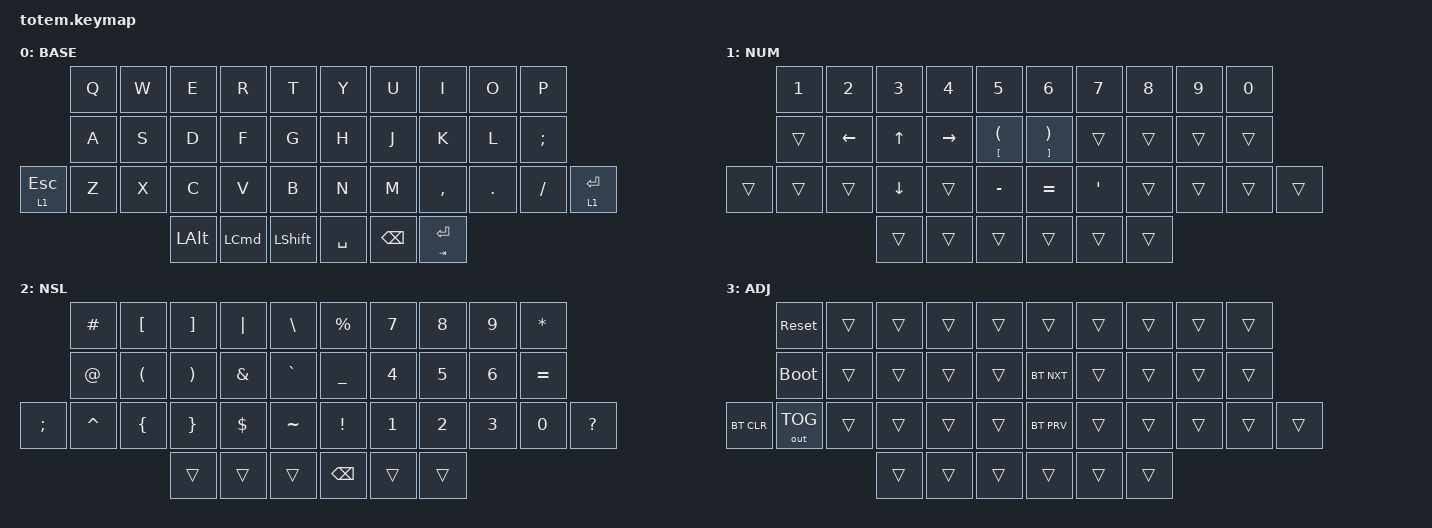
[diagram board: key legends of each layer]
#include <behaviors.dtsi>
#include <dt-bindings/zmk/keys.h>
#include <dt-bindings/zmk/bt.h>
#include <dt-bindings/zmk/outputs.h>

#define BASE 0
#define NUM  1
#define NSL  2
#define ADJ  3

&mt {
  /* tapping-term-ms = <170>; */
    quick-tap-ms = <250>;
    /* flavor = "hold-preferred"; */
  /* global-quick-tap; */
};

&lt {
    /* tapping-term-ms = <170>; */
    quick-tap-ms = <250>;
    /* flavor = "tap-preferred"; */
    /* global-quick-tap; */
    require-prior-idle-ms = <250>;
};

&sk {
    quick-release;
};

/ {
    behaviors {
       /*
        *
        */
        caps_tdr: caps_tap_dance_right {
            compatible = "zmk,behavior-tap-dance";
            #binding-cells = <0>;
            tapping-term-ms = <200>;
            bindings = <&smt RSHFT RALT>, <&caps_word>;
        };

        caps_tdl: caps_tap_dance_left {
            compatible = "zmk,behavior-tap-dance";
            #binding-cells = <0>;
            tapping-term-ms = <200>;
            bindings = <&slt 1 LSHFT>, <&caps_word>;
        };


       /*   Custom mod-tap/layer-tap behavior.
        *   The main idea is to accomodate
        *   the one-shot (i.e. sticky) mods.
        */
        slt: sticky_layer_tap {
            compatible = "zmk,behavior-hold-tap";
            #binding-cells = <2>;
            flavor = "tap-preferred";
            tapping-term-ms = <200>;
            require-prior-idle-ms = <250>;
            bindings = <&mo>, <&sk>;
            display-name = "Sticky-Layer-Tap";
        };

        smt: sticky_mod_tap {
            compatible = "zmk,behavior-hold-tap";
            #binding-cells = <2>;
            flavor = "hold-preferred";
            tapping-term-ms = <200>;
            bindings = <&kp>, <&sk>;
            display-name = "Sticky-Mod-Tap";
        };

       /*   CTRL -based behavior of what would normally be a plain SPACE.
        *   Implemented as nested mod-morphs. The main idea is that `space`
        *   and `comma` are among the most commonly typed characters; hence
        *   their optimized placement (again, not without some individual
        *   preferences).
        */
        spc_L1: rctl_space {
            compatible = "zmk,behavior-mod-morph";
            #binding-cells = <0>;
            bindings = <&lt 2 SPACE>, <&kp COMMA>;
            mods = <(MOD_RCTL)>;
        };

        spc_L0: lctl_space {
            compatible = "zmk,behavior-mod-morph";
            #binding-cells = <0>;
            bindings = <&spc_L1>, <&kp COLON>;
            mods = <(MOD_LCTL)>;
        };

       /*   Quasi-Shift behavior for certain keys.
        *   In the traditional QWERTY layout/keyboard proper,
        *   pairs of non-alphanumeric symbols seem to be tightly coupled
        *   with one another via Shift Mod Key (e.g. / and ? ).
        *   In ZMK, there could actually be an easier way to decouple them,
        *   and, as such, this schema is also subject to revision.
        */
        s_minus: shift_minus {
            compatible = "zmk,behavior-mod-morph";
            #binding-cells = <0>;
            bindings = <&kp MINUS>, <&kp PLUS>;
            mods = <(MOD_LSFT|MOD_RSFT)>;
        };

        s_dot: shift_dot {
            compatible = "zmk,behavior-mod-morph";
            #binding-cells = <0>;
            bindings = <&kp DOT>, <&kp GT>;
            mods = <(MOD_LSFT|MOD_RSFT)>;
        };

        s_slash: shift_slash {
            compatible = "zmk,behavior-mod-morph";
            #binding-cells = <0>;
            bindings = <&kp FSLH>, <&kp LT>;
            mods = <(MOD_LSFT|MOD_RSFT)>;
        };

        s_quote: shift_quotes {
            compatible = "zmk,behavior-mod-morph";
            #binding-cells = <0>;
            bindings = <&kp APOS>, <&kp DQT>;
            mods = <(MOD_LSFT|MOD_RSFT)>;
        };

       /*
        *
        *
        */
        mm_ctrl_bspc: ctrl_bspc {
            compatible = "zmk,behavior-mod-morph";
            #binding-cells = <0>;
            bindings = <&mt RCTRL BSPC>, <&kp BSPC>;
            mods = <MOD_LCTL>;
            keep-mods = <MOD_LCTL>;
        };

    };

    macros {
       /*   Easier navigation macros.  */
        four_down: four_down_macro {
            compatible = "zmk,behavior-macro";
            #binding-cells = <0>;
            bindings = <&macro_tap &kp DOWN &kp DOWN &kp DOWN &kp DOWN>;
        };

        four_up: four_up_macro {
            compatible = "zmk,behavior-macro";
            #binding-cells = <0>;
            bindings = <&macro_tap &kp UP &kp UP &kp UP &kp UP>;
        };

        eight_down: eight_down_macro {
            compatible = "zmk,behavior-macro";
            #binding-cells = <0>;
            bindings = <&macro_tap &kp N8 &kp DOWN>;
        };

        eight_up: eight_up_macro {
            compatible = "zmk,behavior-macro";
            #binding-cells = <0>;
            bindings = <&macro_tap &kp N8 &kp UP>;
        };
    };

/* ---------------------------------------------------------------------------------------------------------------------------------------------------- 
              ┏━━━━━━━━━━━┳━━━━━━━━━━━┳━━━━━━━━━━━┳━━━━━━━━━━━┳━━━━━━━━━━━┓   ┏━━━━━━━━━━━┳━━━━━━━━━━━┳━━━━━━━━━━━┳━━━━━━━━━━━┳━━━━━━━━━━━┓
              ┃     q     ┃     w     ┃     e     ┃     r     ┃    t      ┃   ┃     y     ┃     u     ┃     i     ┃     o     ┃     p     ┃
              ┣━━━━━━━━━━━╋━━━━━━━━━━━╋━━━━━━━━━━━╋━━━━━━━━━━━╋━━━━━━━━━━━┫   ┣━━━━━━━━━━━╋━━━━━━━━━━━╋━━━━━━━━━━━╋━━━━━━━━━━━╋━━━━━━━━━━━┫
              ┃     a     ┃     s     ┃     d     ┃     f     ┃    g      ┃   ┃     h     ┃     j     ┃     k     ┃     l     ┃     ;     ┃
  ┏━━━━━━━━━━━╋━━━━━━━━━━━╋━━━━━━━━━━━╋━━━━━━━━━━━╋━━━━━━━━━━━╋━━━━━━━━━━━┫   ┣━━━━━━━━━━━╋━━━━━━━━━━━╋━━━━━━━━━━━╋━━━━━━━━━━━╋━━━━━━━━━━━╋━━━━━━━━━━━┓
  ┃   LCTRL   ┃     z     ┃     x     ┃     c     ┃     v     ┃    b      ┃   ┃     n     ┃     m     ┃     ,     ┃     .     ┃     /     ┃   layer   ┃
  ┗━━━━━━━━━━━┻━━━━━━━━━━━┻━━━━━━━━━━━╋━━━━━━━━━━━╋━━━━━━━━━━━╋━━━━━━━━━━━┫   ┣━━━━━━━━━━━╋━━━━━━━━━━━╋━━━━━━━━━━━╋━━━━━━━━━━━┻━━━━━━━━━━━┻━━━━━━━━━━━┛
                                      ┃           ┃           ┃           ┃   ┃           ┃           ┃           ┃
                                      ┗━━━━━━━━━━━┻━━━━━━━━━━━┻━━━━━━━━━━━┛   ┗━━━━━━━━━━━┻━━━━━━━━━━━┻━━━━━━━━━━━┛
*/
    keymap {
        compatible = "zmk,keymap"; 
        base_layer {
            label= "BASE";
            bindings = <
                  &kp Q     &kp W       &kp E         &kp R         &kp T       &kp Y          &kp U           &kp I      &kp O   &kp P
                  &kp A     &kp S       &kp D         &kp F         &kp G       &kp H          &kp J           &kp K      &kp L   &kp SEMI
    &lt 1 ESC        &kp Z     &kp X       &kp C         &kp V         &kp B       &kp N          &kp M           &kp COMMA  &kp DOT &kp FSLH  &lt 1 RET
                                        &kp LALT   &kp LEFT_COMMAND        &kp LSHFT     &kp SPACE  &kp BSPC       &mt TAB RET
            >;
        };
/* ---------------------------------------------------------------------------------------------------------------------------------------------------- */
        num_layer {
            label= "NUM";
            bindings = <
                &kp N1     &kp  N2     &kp N3       &kp N4      &kp N5          &kp N6        &kp  N7       &kp N8      &kp N9      &kp N0
                &trans     &kp LEFT    &kp UP       &kp RIGHT   &mt LBKT LPAR   &mt RBKT RPAR &trans     &trans      &trans      &trans
    &trans      &trans     &trans      &kp DOWN     &trans      &kp MINUS       &kp EQUAL     &kp SQT     &trans      &trans      &trans     &trans
                                       &trans       &trans      &trans     &trans        &trans     &trans
            >;
        };
/* ---------------------------------------------------------------------------------------------------------------------------------------------------- */
        num_sym_layer {
            label= "NSL";
            bindings = <
                &kp HASH    &kp LBKT    &kp RBKT     &kp PIPE    &kp BSLH        &kp PRCNT   &kp N7      &kp N8      &kp N9     &kp ASTRK
                &kp AT      &kp LPAR    &kp RPAR     &kp AMPS    &kp GRAVE       &kp UNDER   &kp N4      &kp N5      &kp N6     &kp EQUAL
    &kp SEMI    &kp CARET   &kp LBRC    &kp RBRC     &kp DOLLAR  &kp TILDE       &kp EXCL    &kp N1      &kp N2      &kp N3     &kp N0      &kp QMARK
                                        &trans       &trans      &trans          &kp BSPC    &trans      &trans
            >;
        };
/* ---------------------------------------------------------------------------------------------------------------------------------------------------- */
        adjust_layer {
            label= "ADJ";
            bindings = <
                &sys_reset   &trans     &trans       &trans      &trans          &trans      &trans      &trans       &trans      &trans
                &bootloader  &trans     &trans       &trans      &trans          &bt BT_NXT  &trans      &trans       &trans      &trans
    &bt BT_CLR  &out OUT_TOG &trans     &trans       &trans      &trans          &bt BT_PRV  &trans      &trans       &trans      &trans    &trans
                                        &trans       &trans      &trans          &trans      &trans      &trans
            >;
        };
    };
};
